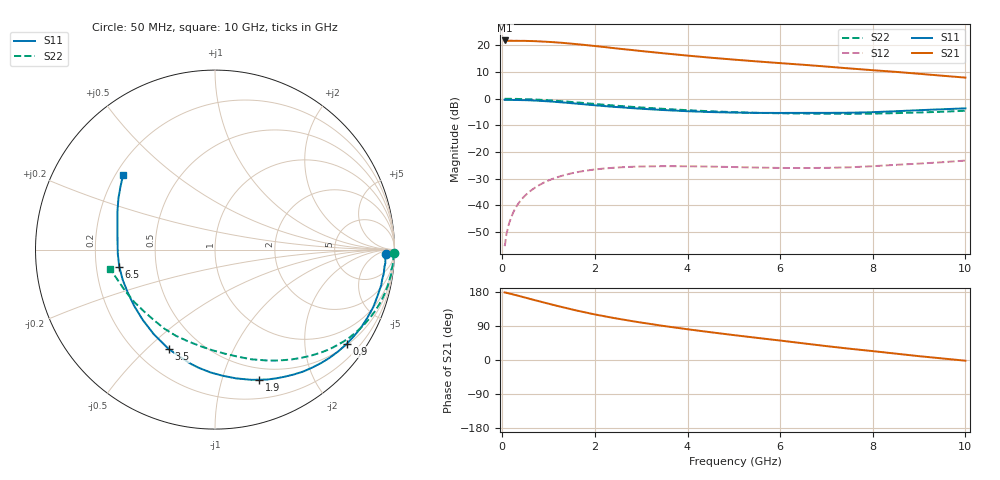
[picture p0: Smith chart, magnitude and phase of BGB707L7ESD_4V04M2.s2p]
!  Infineon Technologies AG
!  BGB707L7ESD
!  Vce = 4.0V, Ic = 4.2mA
!  DATUM: 30.06.2009 10:58:12
# GHz  S  MA  R  50
!f  S11  S21  S12  S22
!GHz  Mag  Ang  Mag  Ang  Mag  Ang  Mag  Ang
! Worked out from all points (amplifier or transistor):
!   52 points, 50 MHz to 10 GHz, reference 50 ohm
!   highest |S21| = 21.8 dB at 60 MHz (marker M1)
!   |S21| within 3 dB of that: start of sweep to 2.475 GHz
!   unconditionally stable (mu >= 1): 6.491 GHz to 9.93 GHz
!   at 130 MHz: K = 0.09, MSG = 34.8 dB, |S12| = -47.8 dB
!   at 1.4 GHz: K = 0.14, MSG = 24.6 dB, |S12| = -28.4 dB
!   at 10 GHz: K = 0.99, MSG = 15.5 dB, |S12| = -23.2 dB
!   S11 on the Smith chart (normalised r, x): 50 MHz: 31, -18; 900 MHz: 0.54, -3.02; 1.9 GHz: 0.38, -1.33; 3.5 GHz: 0.33, -0.59; 6.5 GHz: 0.30, -0.08; 10 GHz: 0.23, +0.34
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0.05  0.9531 -1.6  12.12 178.4  0.001722 72.7  0.9955 -1.1
0.06  0.9534 -2.8  12.34 178.1  0.001878 72.9  0.9957 -1.4
0.08  0.9489 -2.8  12.12 177.4  0.002533 79.2  0.9954 -2.0
0.09  0.9509 -3.6  12.22 177.7  0.002949 80.2  0.9961 -2.3
0.1  0.9511 -4.1  12.16 176.8  0.003161 78.1  0.9951 -2.6
0.2  0.9496 -8.1  12.2 174.2  0.006203 81.6  0.9932 -5.3
0.5  0.9382 -20.0  12.11 164.6  0.01553 76.2  0.9797 -13.2
0.9  0.9018 -35.7  11.73 151.6  0.02679 66.8  0.9449 -23.5
1.3  0.8511 -50.7  11.13 139.5  0.03617 57.7  0.8952 -33.2
1.6  0.8074 -61.3  10.53 130.7  0.04169 51.4  0.8529 -39.8
1.8  0.7805 -68.0  10.13 125.4  0.04467 47.7  0.8247 -43.9
1.9  0.7658 -71.2  9.909 122.8  0.04599 45.9  0.8105 -45.8
2.2  0.7273 -80.6  9.304 115.6  0.04917 41.1  0.7708 -51.5
2.6  0.6848 -92.1  8.501 106.8  0.05198 35.6  0.724 -58.3
3  0.648 -102.8  7.817 98.8  0.0536 31.3  0.6845 -64.6
3.5  0.6111 -115.0  7.065 89.5  0.0544 27.0  0.6437 -71.7
4.5  0.5616 -135.8  5.862 73.3  0.05339 22.3  0.5811 -85.0
5.5  0.5419 -153.9  4.994 58.5  0.05118 22.0  0.5429 -99.3
6.5  0.542 -169.9  4.321 44.0  0.05012 25.6  0.5271 -114.5
7  0.542 -177.5  4.002 36.6  0.05053 28.3  0.523 -122.6
8.5  0.5824 159.0  3.18 16.8  0.05762 36.0  0.5361 -146.9
10  0.659 141.1  2.484 -1.8  0.06925 39.0  0.5946 -169.7
